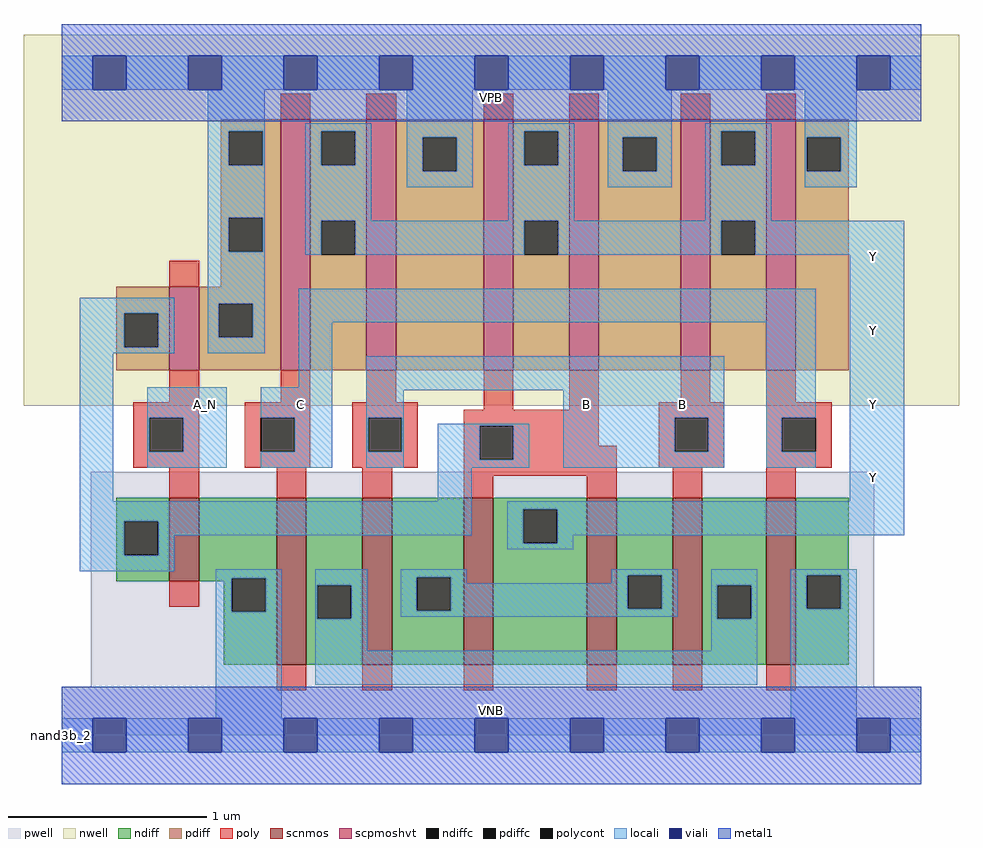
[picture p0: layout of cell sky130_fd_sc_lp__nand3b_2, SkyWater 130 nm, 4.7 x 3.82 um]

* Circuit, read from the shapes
.subckt sky130_fd_sc_lp__nand3b_2 A_N B C VGND VNB VPB VPWR Y
XM1 VGND A_N n1 VNB sky130_fd_pr__nfet_01v8 w=0.42 l=0.15
XM2 n2 C VGND VNB sky130_fd_pr__nfet_01v8 w=0.84 l=0.15 m=2
XM3 n3 B n2 VNB sky130_fd_pr__nfet_01v8 w=0.84 l=0.15 m=2
XM4 Y n1 n3 VNB sky130_fd_pr__nfet_01v8 w=0.84 l=0.15 m=2
XM5 VPWR A_N n1 VPB sky130_fd_pr__pfet_01v8_hvt w=0.42 l=0.15
XM6 Y C VPWR VPB sky130_fd_pr__pfet_01v8_hvt w=1.26 l=0.15 m=2
XM7 VPWR B Y VPB sky130_fd_pr__pfet_01v8_hvt w=1.26 l=0.15 m=2
XM8 Y n1 VPWR VPB sky130_fd_pr__pfet_01v8_hvt w=1.26 l=0.15 m=2
.ends

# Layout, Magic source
magic
tech sky130A
magscale 1 2
<< nwell >>
rect -38 331 902 704
<< pwell >>
rect 29 49 817 265
rect 0 0 864 49
<< scnmos >>
rect 108 155 138 239
rect 216 71 246 239
rect 302 71 332 239
rect 404 71 434 239
rect 528 71 558 239
rect 614 71 644 239
rect 708 71 738 239
<< scpmoshvt >>
rect 108 367 138 451
rect 220 367 250 619
rect 306 367 336 619
rect 424 367 454 619
rect 510 367 540 619
rect 622 367 652 619
rect 708 367 738 619
<< ndiff >>
rect 55 215 108 239
rect 55 181 63 215
rect 97 181 108 215
rect 55 155 108 181
rect 138 158 216 239
rect 138 155 171 158
rect 163 124 171 155
rect 205 124 216 158
rect 163 71 216 124
rect 246 151 302 239
rect 246 117 257 151
rect 291 117 302 151
rect 246 71 302 117
rect 332 159 404 239
rect 332 125 357 159
rect 391 125 404 159
rect 332 71 404 125
rect 434 227 528 239
rect 434 193 464 227
rect 498 193 528 227
rect 434 71 528 193
rect 558 161 614 239
rect 558 127 569 161
rect 603 127 614 161
rect 558 71 614 127
rect 644 151 708 239
rect 644 117 659 151
rect 693 117 708 151
rect 644 71 708 117
rect 738 161 791 239
rect 738 127 749 161
rect 783 127 791 161
rect 738 71 791 127
<< pdiff >>
rect 160 607 220 619
rect 160 573 168 607
rect 202 573 220 607
rect 160 520 220 573
rect 160 486 168 520
rect 202 486 220 520
rect 160 451 220 486
rect 55 424 108 451
rect 55 390 63 424
rect 97 390 108 424
rect 55 367 108 390
rect 138 434 220 451
rect 138 400 158 434
rect 192 400 220 434
rect 138 367 220 400
rect 250 607 306 619
rect 250 573 261 607
rect 295 573 306 607
rect 250 517 306 573
rect 250 483 261 517
rect 295 483 306 517
rect 250 367 306 483
rect 336 601 424 619
rect 336 567 363 601
rect 397 567 424 601
rect 336 367 424 567
rect 454 607 510 619
rect 454 573 465 607
rect 499 573 510 607
rect 454 517 510 573
rect 454 483 465 517
rect 499 483 510 517
rect 454 367 510 483
rect 540 601 622 619
rect 540 567 564 601
rect 598 567 622 601
rect 540 367 622 567
rect 652 607 708 619
rect 652 573 663 607
rect 697 573 708 607
rect 652 517 708 573
rect 652 483 663 517
rect 697 483 708 517
rect 652 367 708 483
rect 738 601 791 619
rect 738 567 749 601
rect 783 567 791 601
rect 738 367 791 567
<< ndiffc >>
rect 63 181 97 215
rect 171 124 205 158
rect 257 117 291 151
rect 357 125 391 159
rect 464 193 498 227
rect 569 127 603 161
rect 659 117 693 151
rect 749 127 783 161
<< pdiffc >>
rect 168 573 202 607
rect 168 486 202 520
rect 63 390 97 424
rect 158 400 192 434
rect 261 573 295 607
rect 261 483 295 517
rect 363 567 397 601
rect 465 573 499 607
rect 465 483 499 517
rect 564 567 598 601
rect 663 573 697 607
rect 663 483 697 517
rect 749 567 783 601
<< poly >>
rect 220 619 250 645
rect 306 619 336 645
rect 424 619 454 645
rect 510 619 540 645
rect 622 619 652 645
rect 708 619 738 645
rect 108 451 138 477
rect 108 335 138 367
rect 220 335 250 367
rect 306 335 336 367
rect 72 319 138 335
rect 72 285 88 319
rect 122 285 138 319
rect 72 269 138 285
rect 184 319 250 335
rect 184 285 200 319
rect 234 285 250 319
rect 184 269 250 285
rect 292 319 358 335
rect 424 327 454 367
rect 510 327 540 367
rect 622 335 652 367
rect 708 335 738 367
rect 292 285 308 319
rect 342 285 358 319
rect 292 269 358 285
rect 404 311 540 327
rect 404 277 420 311
rect 454 291 540 311
rect 600 319 666 335
rect 454 277 558 291
rect 108 239 138 269
rect 216 239 246 269
rect 302 239 332 269
rect 404 261 558 277
rect 600 285 616 319
rect 650 285 666 319
rect 600 269 666 285
rect 708 319 774 335
rect 708 285 724 319
rect 758 285 774 319
rect 708 269 774 285
rect 404 239 434 261
rect 528 239 558 261
rect 614 239 644 269
rect 708 239 738 269
rect 108 129 138 155
rect 216 45 246 71
rect 302 45 332 71
rect 404 45 434 71
rect 528 45 558 71
rect 614 45 644 71
rect 708 45 738 71
<< polycont >>
rect 88 285 122 319
rect 200 285 234 319
rect 308 285 342 319
rect 420 277 454 311
rect 616 285 650 319
rect 724 285 758 319
<< locali >>
rect 0 649 31 683
rect 65 649 127 683
rect 161 649 223 683
rect 257 649 319 683
rect 353 649 415 683
rect 449 649 511 683
rect 545 649 607 683
rect 641 649 703 683
rect 737 649 799 683
rect 833 649 864 683
rect 147 607 204 649
rect 147 573 168 607
rect 202 573 204 607
rect 147 520 204 573
rect 147 486 168 520
rect 202 486 204 520
rect 18 424 113 440
rect 18 390 63 424
rect 97 390 113 424
rect 18 384 113 390
rect 147 434 204 486
rect 245 607 311 615
rect 245 573 261 607
rect 295 573 311 607
rect 245 517 311 573
rect 347 601 413 649
rect 347 567 363 601
rect 397 567 413 601
rect 347 551 413 567
rect 449 607 515 615
rect 449 573 465 607
rect 499 573 515 607
rect 449 517 515 573
rect 549 601 613 649
rect 549 567 564 601
rect 598 567 613 601
rect 549 551 613 567
rect 647 607 713 615
rect 647 573 663 607
rect 697 573 713 607
rect 647 517 713 573
rect 747 601 799 649
rect 747 567 749 601
rect 783 567 799 601
rect 747 551 799 567
rect 245 483 261 517
rect 295 483 465 517
rect 499 483 663 517
rect 697 483 847 517
rect 147 400 158 434
rect 192 400 204 434
rect 147 384 204 400
rect 238 415 758 449
rect 18 235 52 384
rect 238 350 272 415
rect 86 319 166 350
rect 86 285 88 319
rect 122 285 166 319
rect 86 269 166 285
rect 200 319 272 350
rect 234 285 272 319
rect 200 269 272 285
rect 306 347 666 381
rect 306 319 344 347
rect 306 285 308 319
rect 342 285 344 319
rect 504 319 666 347
rect 306 269 344 285
rect 378 311 470 313
rect 378 277 420 311
rect 454 277 470 311
rect 378 269 470 277
rect 504 285 616 319
rect 650 285 666 319
rect 504 269 666 285
rect 708 319 758 415
rect 708 285 724 319
rect 708 269 758 285
rect 378 235 412 269
rect 792 235 847 483
rect 18 215 412 235
rect 18 181 63 215
rect 97 201 412 215
rect 448 227 847 235
rect 97 181 113 201
rect 448 193 464 227
rect 498 201 847 227
rect 498 193 514 201
rect 448 187 514 193
rect 18 165 113 181
rect 155 158 221 167
rect 155 124 171 158
rect 205 124 221 158
rect 155 17 221 124
rect 255 151 307 167
rect 255 117 257 151
rect 291 117 307 151
rect 341 159 407 167
rect 341 125 357 159
rect 391 153 407 159
rect 553 161 619 167
rect 553 153 569 161
rect 391 127 569 153
rect 603 127 619 161
rect 391 125 619 127
rect 341 119 619 125
rect 653 151 699 167
rect 255 85 307 117
rect 653 117 659 151
rect 693 117 699 151
rect 653 85 699 117
rect 255 51 699 85
rect 733 161 799 167
rect 733 127 749 161
rect 783 127 799 161
rect 733 17 799 127
rect 0 -17 31 17
rect 65 -17 127 17
rect 161 -17 223 17
rect 257 -17 319 17
rect 353 -17 415 17
rect 449 -17 511 17
rect 545 -17 607 17
rect 641 -17 703 17
rect 737 -17 799 17
rect 833 -17 864 17
<< viali >>
rect 31 649 65 683
rect 127 649 161 683
rect 223 649 257 683
rect 319 649 353 683
rect 415 649 449 683
rect 511 649 545 683
rect 607 649 641 683
rect 703 649 737 683
rect 799 649 833 683
rect 31 -17 65 17
rect 127 -17 161 17
rect 223 -17 257 17
rect 319 -17 353 17
rect 415 -17 449 17
rect 511 -17 545 17
rect 607 -17 641 17
rect 703 -17 737 17
rect 799 -17 833 17
<< metal1 >>
rect 0 683 864 715
rect 0 649 31 683
rect 65 649 127 683
rect 161 649 223 683
rect 257 649 319 683
rect 353 649 415 683
rect 449 649 511 683
rect 545 649 607 683
rect 641 649 703 683
rect 737 649 799 683
rect 833 649 864 683
rect 0 617 864 649
rect 0 17 864 49
rect 0 -17 31 17
rect 65 -17 127 17
rect 161 -17 223 17
rect 257 -17 319 17
rect 353 -17 415 17
rect 449 -17 511 17
rect 545 -17 607 17
rect 641 -17 703 17
rect 737 -17 799 17
rect 833 -17 864 17
rect 0 -49 864 -17
<< labels >>
flabel pwell s 0 0 864 49 0 FreeSans 200 0 0 0 VNB
port 5 nsew ground bidirectional
flabel nwell s 0 617 864 666 0 FreeSans 200 0 0 0 VPB
port 6 nsew power bidirectional
rlabel comment s 0 0 0 0 4 nand3b_2
flabel metal1 s 0 617 864 666 0 FreeSans 340 0 0 0 VPWR
port 7 nsew power bidirectional
flabel metal1 s 0 0 864 49 0 FreeSans 340 0 0 0 VGND
port 4 nsew ground bidirectional
flabel locali s 127 316 161 350 0 FreeSans 340 0 0 0 A_N
port 1 nsew signal input
flabel locali s 511 316 545 350 0 FreeSans 340 0 0 0 B
port 2 nsew signal input
flabel locali s 607 316 641 350 0 FreeSans 340 0 0 0 B
port 2 nsew signal input
flabel locali s 223 316 257 350 0 FreeSans 340 0 0 0 C
port 3 nsew signal input
flabel locali s 799 242 833 276 0 FreeSans 340 0 0 0 Y
port 8 nsew signal output
flabel locali s 799 316 833 350 0 FreeSans 340 0 0 0 Y
port 8 nsew signal output
flabel locali s 799 390 833 424 0 FreeSans 340 0 0 0 Y
port 8 nsew signal output
flabel locali s 799 464 833 498 0 FreeSans 340 0 0 0 Y
port 8 nsew signal output
<< properties >>
string LEFsite unit
string LEFclass CORE
string FIXED_BBOX 0 0 864 666
string GDS_FILE $PDKPATH/libs.ref/sky130_fd_sc_lp/gds/sky130_fd_sc_lp.gds
string LEFsymmetry X Y R90
string GDS_END 3730184
string GDS_START 3723048
<< end >>
